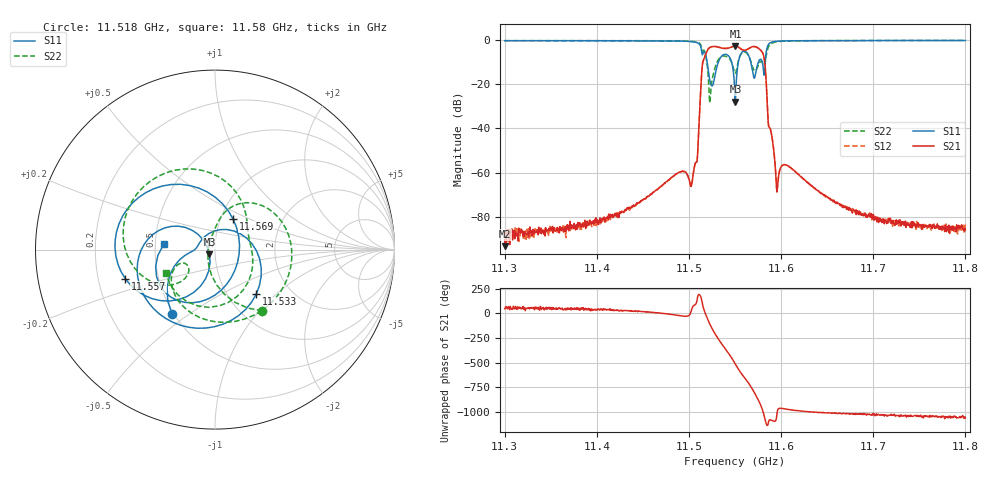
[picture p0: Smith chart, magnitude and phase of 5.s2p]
# Hz S DB R 50
! Planar, S50244, 24171007, 25.4.1/6
! Date: 15.10.2025 10:25:25
! Data: Format (Calibration Info)
! Freq	S11:dB/Ang(F2)	S21:dB/Ang(F2)	S12:dB/Ang(F2)	S22:dB/Ang(F2)
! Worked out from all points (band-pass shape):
!   1001 points, 11.3 GHz to 11.8 GHz, reference 50 ohm
!   highest |S21| = -2.68 dB at 11.55 GHz (marker M1); lowest = -93.2 dB at 11.3 GHz (marker M2)
!   |S21| within 3 dB of the highest: 11.519 GHz to 11.58 GHz (60.79 MHz wide, 0.526 % of centre)
!   lowest |S11| = -27.9 dB at 11.55 GHz (marker M3), VSWR 1.08, Z = 47 - j2.47 ohm
!   |S11| at or under -10 dB: 11.51973 GHz to 11.53195 GHz (12.22 MHz wide, 0.106 % of centre); 11.54628 GHz to 11.55363 GHz (7.346 MHz wide, 0.0636 % of centre); 11.56712 GHz to 11.5754 GHz (8.279 MHz wide, 0.0715 % of centre)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
!   |S22| runs from -28.4 to -0.2 dB; largest |S21 - S12| = 0.011
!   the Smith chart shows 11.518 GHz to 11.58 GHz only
!   S11 on the Smith chart (normalised r, x): 11.518 GHz: 0.49, -0.43; 11.533 GHz: 1.35, -0.76; 11.557 GHz: 0.32, -0.14; 11.569 GHz: 1.15, +0.41; 11.58 GHz: 0.55, +0.04
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1.13e10  -0.32 144.8  -90.29 44.5  -87.13 48.0  -0.31 143.1
1.13005e10  -0.32 144.7  -93.19 44.8  -87.92 69.8  -0.32 143.0
1.13835e10  -0.33 126.0  -84.49 45.6  -85.61 37.9  -0.32 126.2
1.1467e10  -0.38 85.5  -67.03 2.0  -67.17 3.8  -0.35 93.8
1.1503e10  -0.76 12.8  -64.98 39.6  -65.51 40.0  -0.63 45.9
1.15115e10  -1.93 -47.2  -33.13 -173.0  -33.15 -171.8  -1.46 7.4
1.15185e10  -7.27 -123.5  -6.19 -18.2  -6.07 -18.1  -7.32 -52.2
1.15225e10  -18.01 -176.0  -3.45 -106.2  -3.43 -106.3  -28.45 -174.0
1.15265e10  -19.69 92.2  -2.93 -177.8  -2.95 -177.9  -15.33 81.4
1.15325e10  -9.42 -47.2  -3.30 91.2  -3.33 91.9  -8.55 37.5
1.15405e10  -6.52 -146.2  -3.86 -13.4  -3.71 -13.5  -7.44 -59.9
1.155e10  -26.58 159.3  -2.68 -148.2  -2.73 -148.6  -15.02 -151.8
1.15505e10  -27.86 -139.6  -2.68 -156.2  -2.73 -156.5  -15.04 -146.2
1.15575e10  -5.59 -161.9  -4.32 101.3  -4.34 101.4  -5.91 177.0
1.1569e10  -14.04 59.6  -3.02 -51.0  -3.03 -51.0  -12.02 45.7
1.15755e10  -9.88 -112.5  -3.78 -163.1  -3.73 -162.9  -11.24 -55.0
1.158e10  -10.83 174.0  -5.86 96.3  -5.87 95.9  -10.33 -154.6
1.1586e10  -2.26 -90.3  -37.12 -37.5  -37.04 -36.9  -3.42 -45.5
1.15955e10  -0.59 -149.8  -68.75 54.5  -68.60 54.6  -0.81 -132.6
1.16335e10  -0.31 161.1  -65.96 79.0  -66.06 80.6  -0.32 163.5
1.1717e10  -0.25 129.9  -81.47 44.6  -82.00 47.4  -0.24 129.4
1.18e10  -0.22 112.5  -85.73 20.6  -83.21 3.6  -0.21 112.1
